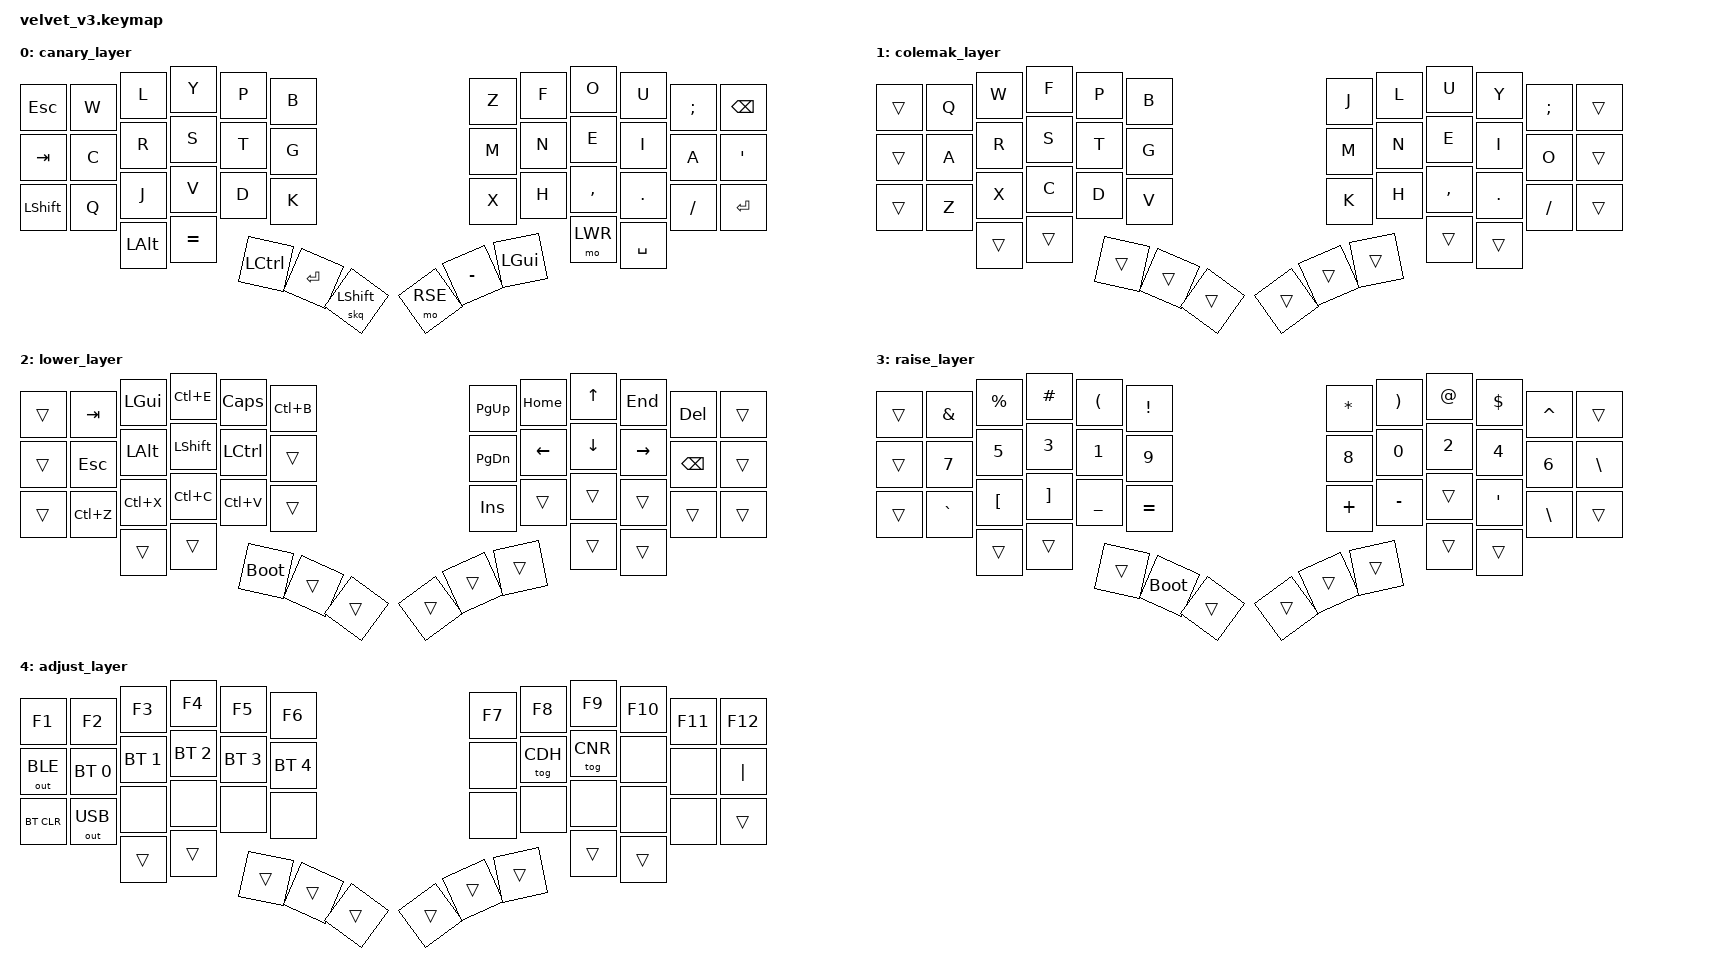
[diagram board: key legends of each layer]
// This file was generated from a template. Edit it to match your keyboard.
// See https://zmk.dev/docs/development/hardware-integration/new-shield for more instructions.

#include <behaviors.dtsi>
#include <dt-bindings/zmk/keys.h>
#include <dt-bindings/zmk/bt.h>
#include <dt-bindings/zmk/outputs.h>

#define CNR 0
#define CDH 1
#define LWR 2
#define RSE 3
#define ADJ 4

/ {
  behaviors {
    skq: sticky_key_quick_release {
		compatible = "zmk,behavior-sticky-key";
		label = "STICKY_KEY_QUICK_RELEASE";
		#binding-cells = <1>;
		bindings = <&kp>;
		release-after-ms = <500>;
		quick-release;
    };
//	pht: positional_hold_tap {
//		compatible = "zmk,behavior-hold-tap";
//		label = "POSITIONAL_HOLD_TAP";
//		#binding-cells = <2>;
//		flavor = "hold-preferred";
//		tapping-term-ms = <200>;
//		quick-tap-ms = <200>;
//		bindings = <&kp>, <&kp>;
//	};
  };

    conditional_layers {
        compatible = "zmk,conditional-layers";
        tri_layer {
            if-layers = <2 3>;
            then-layer = <4>;
        };
    };

    keymap {
        compatible = "zmk,keymap";
		
        canary_layer {
            bindings = <
         &kp ESC   &kp W  &kp L   &kp Y  &kp P  &kp B                                  &kp Z  &kp F  &kp O     &kp U   &kp SEMI  &kp BSPC
         &kp TAB   &kp C  &kp R   &kp S  &kp T  &kp G                                  &kp M  &kp N  &kp E     &kp I   &kp A     &kp SQT
         &kp LSHFT &kp Q  &kp J   &kp V  &kp D  &kp K                                  &kp X  &kp H  &kp COMMA &kp DOT &kp FSLH  &kp RET
                     &kp LALT &kp EQUAL &mo LWR &kp SPACE &kp LCTRL       &kp RET &skq LSHFT &mo RSE &kp MINUS &kp LGUI
            >;
        };		

        colemak_layer {
            bindings = <
         &trans  &kp Q  &kp W   &kp F  &kp P  &kp B                                  &kp J  &kp L  &kp U     &kp Y   &kp SEMI &trans
         &trans  &kp A  &kp R   &kp S  &kp T  &kp G                                  &kp M  &kp N  &kp E     &kp I   &kp O    &trans
         &trans  &kp Z  &kp X   &kp C  &kp D  &kp V                                  &kp K  &kp H  &kp COMMA &kp DOT &kp FSLH &trans
                       &trans  &trans &trans &trans &trans                   &trans &trans &trans &trans &trans
            >;
        };

        lower_layer {
            bindings = <
         &trans &kp TAB   &kp LGUI  &kp LC(E) &kp CAPS  &kp LC(B)                   &kp PG_UP &kp HOME  &kp UP    &kp END   &kp DEL   &trans
         &trans &kp ESC   &kp LALT  &kp LSHFT &kp LCTRL &trans                      &kp PG_DN &kp LEFT  &kp DOWN  &kp RIGHT &kp BSPC  &trans
         &trans &kp LC(Z) &kp LC(X) &kp LC(C) &kp LC(V) &trans                      &kp INS   &trans    &trans    &trans    &trans    &trans
                          &trans    &trans    &trans    &trans &bootloader   &trans &trans    &trans    &trans    &trans
            >;
        };

        raise_layer {
            bindings = <
         &trans &kp AMPS  &kp PRCNT &kp HASH   &kp LPAR  &kp EXCL                      &kp ASTRK &kp RPAR  &kp AT    &kp DLLR  &kp CARET  &trans
         &trans &kp N7    &kp N5    &kp N3     &kp N1    &kp N9                        &kp N8    &kp N0    &kp N2    &kp N4    &kp N6     &kp BSLH
         &trans &kp GRAVE &kp LBKT  &kp RBKT   &kp UNDER &kp EQUAL                     &kp PLUS  &kp MINUS &trans    &kp SQT   &kp BSLH   &trans
                          &trans    &trans     &trans    &trans    &trans  &bootloader &trans    &trans    &trans    &trans
            >;
        };

        adjust_layer {
            bindings = <
         &kp F1        &kp F2       &kp F3       &kp F4        &kp F5       &kp F6                  &kp F7 &kp F8   &kp F9   &kp F10  &kp F11  &kp F12
         &out OUT_BLE  &bt BT_SEL 0 &bt BT_SEL 1 &bt BT_SEL 2  &bt BT_SEL 3 &bt BT_SEL 4            &none  &tog CDH &tog CNR &none    &none    &kp PIPE
         &bt BT_CLR    &out OUT_USB &none        &none         &none        &none                   &none  &none    &none    &none    &none    &trans
                                               &trans  &trans &trans &trans &trans           &trans &trans &trans   &trans   &trans
            >;
        };
    };
};
